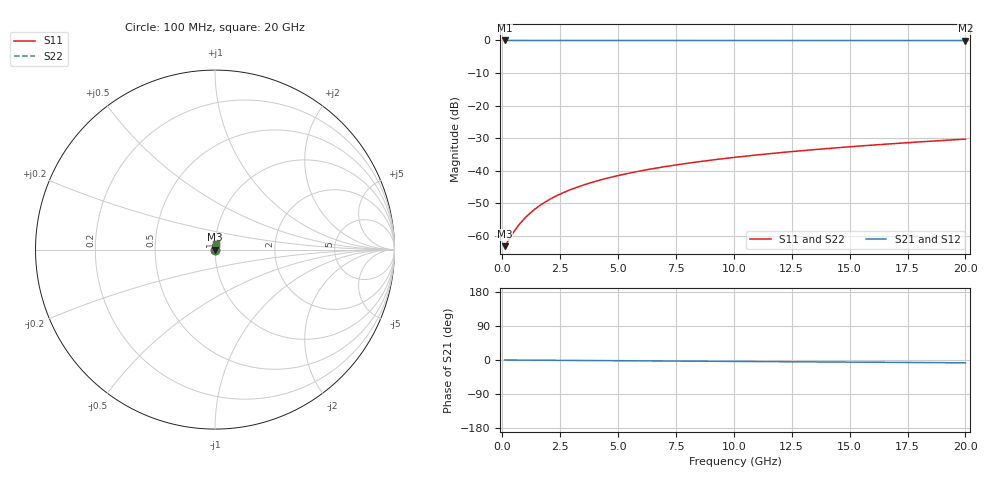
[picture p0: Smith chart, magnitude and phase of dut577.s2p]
! Touchstone file exported from HFSS 2026.1.0
!  File:  C:/ffzhzh/LocalFiles/Ansys_Project_Files/temp_train_TSV_577_1783024912_46388.aedt
!  Generated:  04:44:09 AM Jul  3, 2026
!  Design:  TSV
!  Project:  temp_train_TSV_577_1783024912_46388
! Variables:
!  h_bsmrdl = 2um
!  h_ox = 20um
!  h_rdl = 5um
!  h_sub = 76.39um
!  h_tmrdl = 5um
!  h_tsv = 76.39um
!  h_via = 3um
!  l_bsmrdl = 300um
!  l_sub = 407.38um
!  l_tmrdl = 200um
!  m_sub = 200um
!  pitch = 21.01um
!  r_tsv = 3.69um
!  s_tmrdl = 10um
!  w_bsmrdl = 18um
!  w_sub = 500um
!  w_tmrdl = 12um
!  x_tsv_center1 = 206um
!  x_tsv_center2 = 524um
!  x_tsv_center3 = 736um
!  x_tsv_center4 = 1054um
!  x_tsv_center5 = 1266um
!  x_tsv_center6 = 1584um
# GHz S MA R 50.000000
! Terminal data exported
! Port[1] = TSV1_1_T1
! Port[2] = TSV1_1_T2
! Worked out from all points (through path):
!   200 points, 100 MHz to 20 GHz, reference 50 ohm
!   highest |S21| = -0.01 dB at 100 MHz (marker M1); lowest = 0.0 dB at 20 GHz (marker M2)
!   group delay of S21, straight-line fit = 1.03 ps
!   lowest |S11| = -63.1 dB at 100 MHz (marker M3), VSWR 1.00, Z = 50.1 + j0.0195 ohm
!   |S11| at or under -10 dB: start of sweep to end of sweep
!   |S22| runs from -63.1 to -30.3 dB; largest |S21 - S12| = 3.3e-15
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0.1  0.0007001 16.2  0.9993 -0.0  0.9993 -0.0  0.0007001 16.2
! Gamma 0 0 0 0
! Port Impedance 50 0 50 0
0.2  0.0007866 29.1  0.9993 -0.1  0.9993 -0.1  0.0007866 29.1
0.5  0.001166 51.2  0.9993 -0.2  0.9993 -0.2  0.001166 51.2
0.7  0.001458 58.9  0.9993 -0.3  0.9993 -0.3  0.001458 58.9
0.8  0.001611 61.8  0.9992 -0.3  0.9992 -0.3  0.001611 61.8
1  0.001926 66.1  0.9992 -0.4  0.9992 -0.4  0.001926 66.1
1.2  0.002249 69.1  0.9992 -0.5  0.9992 -0.5  0.002249 69.1
1.4  0.002578 71.3  0.9992 -0.5  0.9992 -0.5  0.002578 71.3
1.8  0.003242 74.3  0.9992 -0.7  0.9992 -0.7  0.003242 74.3
2.3  0.004077 76.4  0.9991 -0.9  0.9991 -0.9  0.004077 76.4
2.9  0.005074 77.8  0.999 -1.1  0.999 -1.1  0.005074 77.8
3.5  0.00606 78.5  0.9989 -1.3  0.9989 -1.3  0.00606 78.5
4.2  0.007195 79.0  0.9988 -1.6  0.9988 -1.6  0.007195 79.0
5  0.008469 79.3  0.9987 -1.9  0.9987 -1.9  0.008469 79.3
5.9  0.009876 79.4  0.9985 -2.2  0.9985 -2.2  0.009876 79.4
6.8  0.01126 79.4  0.9984 -2.6  0.9984 -2.6  0.01126 79.4
8.3  0.01353 79.4  0.9981 -3.1  0.9981 -3.1  0.01353 79.3
10.1  0.01621 79.2  0.9979 -3.8  0.9979 -3.8  0.01621 79.2
11.7  0.01858 79.0  0.9977 -4.4  0.9977 -4.4  0.01858 79.0
13.4  0.02107 78.8  0.9975 -5.0  0.9975 -5.0  0.02107 78.8
16.7  0.02589 78.1  0.9971 -6.2  0.9971 -6.2  0.02589 78.1
20  0.03066 77.3  0.9967 -7.4  0.9967 -7.4  0.03066 77.3
